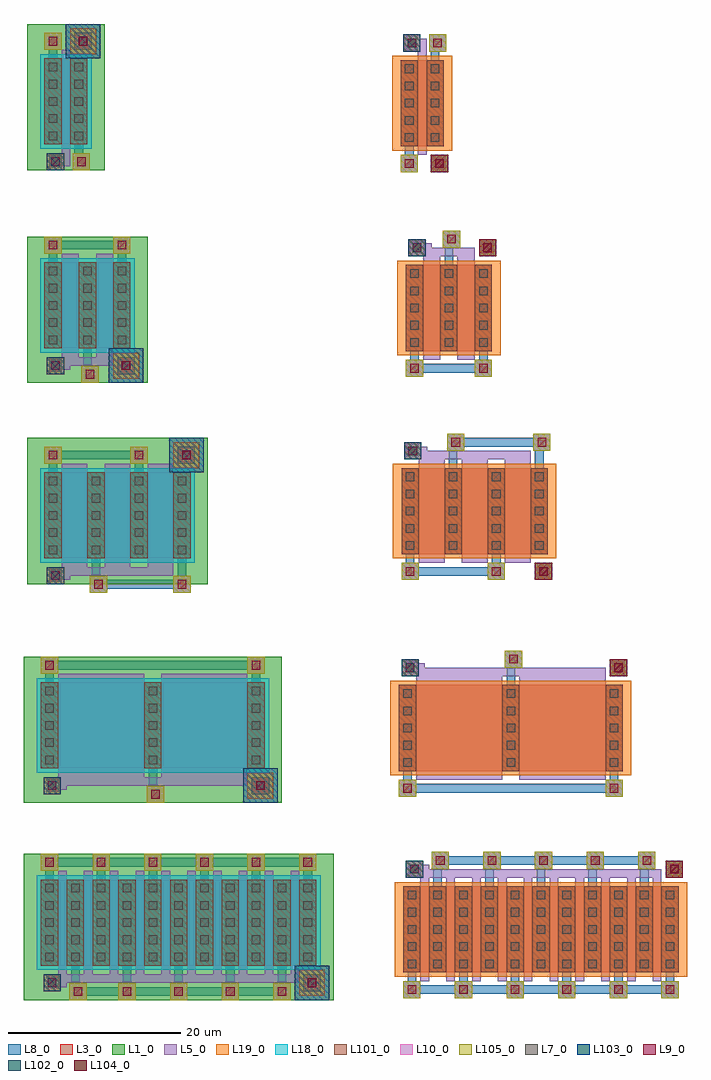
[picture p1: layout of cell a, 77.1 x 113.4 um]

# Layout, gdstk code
import gdstk
lib = gdstk.Library(unit=1e-6, precision=1e-09)
def R(c, l, rs):  # rectangles x0, y0, x1, y1
    for r in rs: c.add(gdstk.rectangle(r[:2], r[2:], *l))
L1_0 = (1, 0)
L3_0 = (3, 0)
L5_0 = (5, 0)
L7_0 = (7, 0)
L8_0 = (8, 0)
L9_0 = (9, 0)
L10_0 = (10, 0)
L18_0 = (18, 0)
L19_0 = (19, 0)
L101_0 = (101, 0)
L102_0 = (102, 0)
L103_0 = (103, 0)
L104_0 = (104, 0)
L105_0 = (105, 0)

dcont_2 = lib.new_cell('dcont$2')
R(dcont_2, L3_0, [(-0.5,-0.5,0.5,0.5)])
R(dcont_2, L7_0, [(-0.5,-0.5,0.5,0.5)])
R(dcont_2, L8_0, [(-1,-1,1,1)])
R(dcont_2, L101_0, [(-1,-1,1,1)])
dcont_2.add(gdstk.Label('dcont', (0,0), layer=13, texttype=0))

pcont_2 = lib.new_cell('pcont$2')
R(pcont_2, L5_0, [(-1,-1,1,1)])
R(pcont_2, L7_0, [(-0.5,-0.5,0.5,0.5)])
R(pcont_2, L8_0, [(-1,-1,1,1)])
R(pcont_2, L102_0, [(-1,-1,1,1)])
pcont_2.add(gdstk.Label('pcont', (0,0), layer=13, texttype=0))

via_2 = lib.new_cell('Via$2')
R(via_2, L8_0, [(-1,-1,1,1)])
R(via_2, L9_0, [(-0.5,-0.5,0.5,0.5)])
R(via_2, L10_0, [(-1,-1,1,1)])
R(via_2, L105_0, [(-1,-1,1,1)])
via_2.add(gdstk.Label('via', (0,0), layer=13, texttype=0))

nsubcont = lib.new_cell('nsubcont')
R(nsubcont, L1_0, [(-2,-2,2,2)])
R(nsubcont, L19_0, [(-1.5,-1.5,1.5,1.5)])
R(nsubcont, L103_0, [(-2,-2,2,2)])
nsubcont.add(gdstk.Reference(dcont_2, (0,0)))
nsubcont.add(gdstk.Label('NScont', (0,0), layer=13, texttype=0))

pch = lib.new_cell('Pch')
R(pch, L1_0, [(-2,0,7,17)])
R(pch, L3_0, [(0,3,5,13)])
R(pch, L18_0, [(-0.5,2.5,5.5,13.5)])
pch.add(gdstk.FlexPath([(1,3),(1,13)], 2, ends="flush", simple_path=True, layer=8, datatype=0))  # L8_0
pch.add(gdstk.FlexPath([(4,3),(4,13)], 2, ends="flush", simple_path=True, layer=8, datatype=0))  # L8_0
pch.add(gdstk.FlexPath([(1,13),(1,15)], 1, ends="flush", simple_path=True, layer=8, datatype=0))  # L8_0
pch.add(gdstk.FlexPath([(4,1),(4,3)], 1, ends="flush", simple_path=True, layer=8, datatype=0))  # L8_0
pch.add(gdstk.FlexPath([(2.5,3),(2.5,13)], 1, ends=(1, 1), simple_path=True, layer=5, datatype=0))  # L5_0
pch.add(gdstk.FlexPath([(1,1),(2.5,1),(2.5,2)], 1, ends="flush", simple_path=True, layer=5, datatype=0))  # L5_0
pch.add(gdstk.Reference(dcont_2, (1,4)))
pch.add(gdstk.Reference(dcont_2, (1,6)))
pch.add(gdstk.Reference(dcont_2, (1,8)))
pch.add(gdstk.Reference(dcont_2, (1,10)))
pch.add(gdstk.Reference(dcont_2, (1,12)))
pch.add(gdstk.Reference(dcont_2, (4,4)))
pch.add(gdstk.Reference(dcont_2, (4,6)))
pch.add(gdstk.Reference(dcont_2, (4,8)))
pch.add(gdstk.Reference(dcont_2, (4,10)))
pch.add(gdstk.Reference(dcont_2, (4,12)))
pch.add(gdstk.Reference(pcont_2, (1.3,1)))
pch.add(gdstk.Reference(via_2, (1.3,1)))
pch.add(gdstk.Reference(via_2, (1,15)))
pch.add(gdstk.Reference(via_2, (4.3,1)))
pch.add(gdstk.Reference(nsubcont, (4.5,15)))
pch.add(gdstk.Reference(via_2, (4.5,15)))

pch_1 = lib.new_cell('Pch$1')
R(pch_1, L1_0, [(-2,-1,12,16)])
R(pch_1, L3_0, [(0,3,10,13)])
R(pch_1, L18_0, [(-0.5,2.5,10.5,13.5)])
pch_1.add(gdstk.FlexPath([(1,3),(1,13)], 2, ends="flush", simple_path=True, layer=8, datatype=0))  # L8_0
pch_1.add(gdstk.FlexPath([(5,3),(5,13)], 2, ends="flush", simple_path=True, layer=8, datatype=0))  # L8_0
pch_1.add(gdstk.FlexPath([(9,3),(9,13)], 2, ends="flush", simple_path=True, layer=8, datatype=0))  # L8_0
pch_1.add(gdstk.FlexPath([(1,13),(1,15)], 1, ends="flush", simple_path=True, layer=8, datatype=0))  # L8_0
pch_1.add(gdstk.FlexPath([(5,1),(5,3)], 1, ends="flush", simple_path=True, layer=8, datatype=0))  # L8_0
pch_1.add(gdstk.FlexPath([(9,13),(9,15)], 1, ends="flush", simple_path=True, layer=8, datatype=0))  # L8_0
pch_1.add(gdstk.FlexPath([(1,15),(9,15)], 1, ends="flush", simple_path=True, layer=8, datatype=0))  # L8_0
pch_1.add(gdstk.FlexPath([(3,3),(3,13)], 2, ends="extended", simple_path=True, layer=5, datatype=0))  # L5_0
pch_1.add(gdstk.FlexPath([(7,3),(7,13)], 2, ends="extended", simple_path=True, layer=5, datatype=0))  # L5_0
pch_1.add(gdstk.FlexPath([(1,1),(2.5,1),(2.5,2)], 1, ends="flush", simple_path=True, layer=5, datatype=0))  # L5_0
pch_1.add(gdstk.FlexPath([(2,1.5),(8,1.5)], 1, ends="flush", simple_path=True, layer=5, datatype=0))  # L5_0
pch_1.add(gdstk.Reference(dcont_2, (1,4)))
pch_1.add(gdstk.Reference(dcont_2, (1,6)))
pch_1.add(gdstk.Reference(dcont_2, (1,8)))
pch_1.add(gdstk.Reference(dcont_2, (1,10)))
pch_1.add(gdstk.Reference(dcont_2, (1,12)))
pch_1.add(gdstk.Reference(dcont_2, (5,4)))
pch_1.add(gdstk.Reference(dcont_2, (5,6)))
pch_1.add(gdstk.Reference(dcont_2, (5,8)))
pch_1.add(gdstk.Reference(dcont_2, (5,10)))
pch_1.add(gdstk.Reference(dcont_2, (5,12)))
pch_1.add(gdstk.Reference(dcont_2, (9,4)))
pch_1.add(gdstk.Reference(dcont_2, (9,6)))
pch_1.add(gdstk.Reference(dcont_2, (9,8)))
pch_1.add(gdstk.Reference(dcont_2, (9,10)))
pch_1.add(gdstk.Reference(dcont_2, (9,12)))
pch_1.add(gdstk.Reference(pcont_2, (1.3,1)))
pch_1.add(gdstk.Reference(via_2, (1.3,1)))
pch_1.add(gdstk.Reference(via_2, (1,15)))
pch_1.add(gdstk.Reference(via_2, (5.3,0)))
pch_1.add(gdstk.Reference(via_2, (9,15)))
pch_1.add(gdstk.Reference(nsubcont, (9.5,1)))
pch_1.add(gdstk.Reference(via_2, (9.5,1)))

pch_2 = lib.new_cell('Pch$2')
R(pch_2, L1_0, [(-2,0,19,17)])
R(pch_2, L3_0, [(0,3,17,13)])
R(pch_2, L18_0, [(-0.5,2.5,17.5,13.5)])
pch_2.add(gdstk.FlexPath([(1,3),(1,13)], 2, ends="flush", simple_path=True, layer=8, datatype=0))  # L8_0
pch_2.add(gdstk.FlexPath([(6,3),(6,13)], 2, ends="flush", simple_path=True, layer=8, datatype=0))  # L8_0
pch_2.add(gdstk.FlexPath([(11,3),(11,13)], 2, ends="flush", simple_path=True, layer=8, datatype=0))  # L8_0
pch_2.add(gdstk.FlexPath([(16,3),(16,13)], 2, ends="flush", simple_path=True, layer=8, datatype=0))  # L8_0
pch_2.add(gdstk.FlexPath([(1,13),(1,15)], 1, ends="flush", simple_path=True, layer=8, datatype=0))  # L8_0
pch_2.add(gdstk.FlexPath([(6,1),(6,3)], 1, ends="flush", simple_path=True, layer=8, datatype=0))  # L8_0
pch_2.add(gdstk.FlexPath([(11,13),(11,15)], 1, ends="flush", simple_path=True, layer=8, datatype=0))  # L8_0
pch_2.add(gdstk.FlexPath([(1,15),(11,15)], 1, ends="flush", simple_path=True, layer=8, datatype=0))  # L8_0
pch_2.add(gdstk.FlexPath([(16,1),(16,3)], 1, ends="flush", simple_path=True, layer=8, datatype=0))  # L8_0
pch_2.add(gdstk.FlexPath([(6,0),(16,0)], 1, ends="flush", simple_path=True, layer=8, datatype=0))  # L8_0
pch_2.add(gdstk.FlexPath([(3.5,3),(3.5,13)], 3, ends=(1, 1), simple_path=True, layer=5, datatype=0))  # L5_0
pch_2.add(gdstk.FlexPath([(8.5,3),(8.5,13)], 3, ends=(1, 1), simple_path=True, layer=5, datatype=0))  # L5_0
pch_2.add(gdstk.FlexPath([(13.5,3),(13.5,13)], 3, ends=(1, 1), simple_path=True, layer=5, datatype=0))  # L5_0
pch_2.add(gdstk.FlexPath([(1,1),(2.5,1),(2.5,2)], 1, ends="flush", simple_path=True, layer=5, datatype=0))  # L5_0
pch_2.add(gdstk.FlexPath([(2,1.5),(10,1.5)], 1, ends="flush", simple_path=True, layer=5, datatype=0))  # L5_0
pch_2.add(gdstk.FlexPath([(7,1.5),(15,1.5)], 1, ends="flush", simple_path=True, layer=5, datatype=0))  # L5_0
pch_2.add(gdstk.Reference(dcont_2, (1,4)))
pch_2.add(gdstk.Reference(dcont_2, (1,6)))
pch_2.add(gdstk.Reference(dcont_2, (1,8)))
pch_2.add(gdstk.Reference(dcont_2, (1,10)))
pch_2.add(gdstk.Reference(dcont_2, (1,12)))
pch_2.add(gdstk.Reference(dcont_2, (6,4)))
pch_2.add(gdstk.Reference(dcont_2, (6,6)))
pch_2.add(gdstk.Reference(dcont_2, (6,8)))
pch_2.add(gdstk.Reference(dcont_2, (6,10)))
pch_2.add(gdstk.Reference(dcont_2, (6,12)))
pch_2.add(gdstk.Reference(dcont_2, (11,4)))
pch_2.add(gdstk.Reference(dcont_2, (11,6)))
pch_2.add(gdstk.Reference(dcont_2, (11,8)))
pch_2.add(gdstk.Reference(dcont_2, (11,10)))
pch_2.add(gdstk.Reference(dcont_2, (11,12)))
pch_2.add(gdstk.Reference(dcont_2, (16,4)))
pch_2.add(gdstk.Reference(dcont_2, (16,6)))
pch_2.add(gdstk.Reference(dcont_2, (16,8)))
pch_2.add(gdstk.Reference(dcont_2, (16,10)))
pch_2.add(gdstk.Reference(dcont_2, (16,12)))
pch_2.add(gdstk.Reference(pcont_2, (1.3,1)))
pch_2.add(gdstk.Reference(via_2, (1.3,1)))
pch_2.add(gdstk.Reference(via_2, (1,15)))
pch_2.add(gdstk.Reference(via_2, (6.3,0)))
pch_2.add(gdstk.Reference(via_2, (11,15)))
pch_2.add(gdstk.Reference(via_2, (16,0)))
pch_2.add(gdstk.Reference(nsubcont, (16.5,15)))
pch_2.add(gdstk.Reference(via_2, (16.5,15)))

pch_3 = lib.new_cell('Pch$3')
R(pch_3, L1_0, [(-2,-1,28,16)])
R(pch_3, L3_0, [(0,3,26,13)])
R(pch_3, L18_0, [(-0.5,2.5,26.5,13.5)])
pch_3.add(gdstk.FlexPath([(1,3),(1,13)], 2, ends="flush", simple_path=True, layer=8, datatype=0))  # L8_0
pch_3.add(gdstk.FlexPath([(13,3),(13,13)], 2, ends="flush", simple_path=True, layer=8, datatype=0))  # L8_0
pch_3.add(gdstk.FlexPath([(25,3),(25,13)], 2, ends="flush", simple_path=True, layer=8, datatype=0))  # L8_0
pch_3.add(gdstk.FlexPath([(1,13),(1,15)], 1, ends="flush", simple_path=True, layer=8, datatype=0))  # L8_0
pch_3.add(gdstk.FlexPath([(13,1),(13,3)], 1, ends="flush", simple_path=True, layer=8, datatype=0))  # L8_0
pch_3.add(gdstk.FlexPath([(25,13),(25,15)], 1, ends="flush", simple_path=True, layer=8, datatype=0))  # L8_0
pch_3.add(gdstk.FlexPath([(1,15),(25,15)], 1, ends="flush", simple_path=True, layer=8, datatype=0))  # L8_0
pch_3.add(gdstk.FlexPath([(7,3),(7,13)], 10, ends=(1, 1), simple_path=True, layer=5, datatype=0))  # L5_0
pch_3.add(gdstk.FlexPath([(19,3),(19,13)], 10, ends=(1, 1), simple_path=True, layer=5, datatype=0))  # L5_0
pch_3.add(gdstk.FlexPath([(1,1),(2.5,1),(2.5,2)], 1, ends="flush", simple_path=True, layer=5, datatype=0))  # L5_0
pch_3.add(gdstk.FlexPath([(2,1.5),(24,1.5)], 1, ends="flush", simple_path=True, layer=5, datatype=0))  # L5_0
pch_3.add(gdstk.Reference(dcont_2, (1,4)))
pch_3.add(gdstk.Reference(dcont_2, (1,6)))
pch_3.add(gdstk.Reference(dcont_2, (1,8)))
pch_3.add(gdstk.Reference(dcont_2, (1,10)))
pch_3.add(gdstk.Reference(dcont_2, (1,12)))
pch_3.add(gdstk.Reference(dcont_2, (13,4)))
pch_3.add(gdstk.Reference(dcont_2, (13,6)))
pch_3.add(gdstk.Reference(dcont_2, (13,8)))
pch_3.add(gdstk.Reference(dcont_2, (13,10)))
pch_3.add(gdstk.Reference(dcont_2, (13,12)))
pch_3.add(gdstk.Reference(dcont_2, (25,4)))
pch_3.add(gdstk.Reference(dcont_2, (25,6)))
pch_3.add(gdstk.Reference(dcont_2, (25,8)))
pch_3.add(gdstk.Reference(dcont_2, (25,10)))
pch_3.add(gdstk.Reference(dcont_2, (25,12)))
pch_3.add(gdstk.Reference(pcont_2, (1.3,1)))
pch_3.add(gdstk.Reference(via_2, (1.3,1)))
pch_3.add(gdstk.Reference(via_2, (1,15)))
pch_3.add(gdstk.Reference(via_2, (13.3,0)))
pch_3.add(gdstk.Reference(via_2, (25,15)))
pch_3.add(gdstk.Reference(nsubcont, (25.5,1)))
pch_3.add(gdstk.Reference(via_2, (25.5,1)))

pch_4 = lib.new_cell('Pch$4')
R(pch_4, L1_0, [(-2,-1,34,16)])
R(pch_4, L3_0, [(0,3,32,13)])
R(pch_4, L18_0, [(-0.5,2.5,32.5,13.5)])
pch_4.add(gdstk.FlexPath([(1,3),(1,13)], 2, ends="flush", simple_path=True, layer=8, datatype=0))  # L8_0
pch_4.add(gdstk.FlexPath([(4,3),(4,13)], 2, ends="flush", simple_path=True, layer=8, datatype=0))  # L8_0
pch_4.add(gdstk.FlexPath([(7,3),(7,13)], 2, ends="flush", simple_path=True, layer=8, datatype=0))  # L8_0
pch_4.add(gdstk.FlexPath([(10,3),(10,13)], 2, ends="flush", simple_path=True, layer=8, datatype=0))  # L8_0
pch_4.add(gdstk.FlexPath([(13,3),(13,13)], 2, ends="flush", simple_path=True, layer=8, datatype=0))  # L8_0
pch_4.add(gdstk.FlexPath([(16,3),(16,13)], 2, ends="flush", simple_path=True, layer=8, datatype=0))  # L8_0
pch_4.add(gdstk.FlexPath([(19,3),(19,13)], 2, ends="flush", simple_path=True, layer=8, datatype=0))  # L8_0
pch_4.add(gdstk.FlexPath([(22,3),(22,13)], 2, ends="flush", simple_path=True, layer=8, datatype=0))  # L8_0
pch_4.add(gdstk.FlexPath([(25,3),(25,13)], 2, ends="flush", simple_path=True, layer=8, datatype=0))  # L8_0
pch_4.add(gdstk.FlexPath([(28,3),(28,13)], 2, ends="flush", simple_path=True, layer=8, datatype=0))  # L8_0
pch_4.add(gdstk.FlexPath([(31,3),(31,13)], 2, ends="flush", simple_path=True, layer=8, datatype=0))  # L8_0
pch_4.add(gdstk.FlexPath([(1,13),(1,15)], 1, ends="flush", simple_path=True, layer=8, datatype=0))  # L8_0
pch_4.add(gdstk.FlexPath([(4,1),(4,3)], 1, ends="flush", simple_path=True, layer=8, datatype=0))  # L8_0
pch_4.add(gdstk.FlexPath([(7,13),(7,15)], 1, ends="flush", simple_path=True, layer=8, datatype=0))  # L8_0
pch_4.add(gdstk.FlexPath([(1,15),(7,15)], 1, ends="flush", simple_path=True, layer=8, datatype=0))  # L8_0
pch_4.add(gdstk.FlexPath([(10,1),(10,3)], 1, ends="flush", simple_path=True, layer=8, datatype=0))  # L8_0
pch_4.add(gdstk.FlexPath([(4,0),(10,0)], 1, ends="flush", simple_path=True, layer=8, datatype=0))  # L8_0
pch_4.add(gdstk.FlexPath([(13,13),(13,15)], 1, ends="flush", simple_path=True, layer=8, datatype=0))  # L8_0
pch_4.add(gdstk.FlexPath([(7,15),(13,15)], 1, ends="flush", simple_path=True, layer=8, datatype=0))  # L8_0
pch_4.add(gdstk.FlexPath([(16,1),(16,3)], 1, ends="flush", simple_path=True, layer=8, datatype=0))  # L8_0
pch_4.add(gdstk.FlexPath([(10,0),(16,0)], 1, ends="flush", simple_path=True, layer=8, datatype=0))  # L8_0
pch_4.add(gdstk.FlexPath([(19,13),(19,15)], 1, ends="flush", simple_path=True, layer=8, datatype=0))  # L8_0
pch_4.add(gdstk.FlexPath([(13,15),(19,15)], 1, ends="flush", simple_path=True, layer=8, datatype=0))  # L8_0
pch_4.add(gdstk.FlexPath([(22,1),(22,3)], 1, ends="flush", simple_path=True, layer=8, datatype=0))  # L8_0
pch_4.add(gdstk.FlexPath([(16,0),(22,0)], 1, ends="flush", simple_path=True, layer=8, datatype=0))  # L8_0
pch_4.add(gdstk.FlexPath([(25,13),(25,15)], 1, ends="flush", simple_path=True, layer=8, datatype=0))  # L8_0
pch_4.add(gdstk.FlexPath([(19,15),(25,15)], 1, ends="flush", simple_path=True, layer=8, datatype=0))  # L8_0
pch_4.add(gdstk.FlexPath([(28,1),(28,3)], 1, ends="flush", simple_path=True, layer=8, datatype=0))  # L8_0
pch_4.add(gdstk.FlexPath([(22,0),(28,0)], 1, ends="flush", simple_path=True, layer=8, datatype=0))  # L8_0
pch_4.add(gdstk.FlexPath([(31,13),(31,15)], 1, ends="flush", simple_path=True, layer=8, datatype=0))  # L8_0
pch_4.add(gdstk.FlexPath([(25,15),(31,15)], 1, ends="flush", simple_path=True, layer=8, datatype=0))  # L8_0
pch_4.add(gdstk.FlexPath([(2.5,3),(2.5,13)], 1, ends=(1, 1), simple_path=True, layer=5, datatype=0))  # L5_0
pch_4.add(gdstk.FlexPath([(5.5,3),(5.5,13)], 1, ends=(1, 1), simple_path=True, layer=5, datatype=0))  # L5_0
pch_4.add(gdstk.FlexPath([(8.5,3),(8.5,13)], 1, ends=(1, 1), simple_path=True, layer=5, datatype=0))  # L5_0
pch_4.add(gdstk.FlexPath([(11.5,3),(11.5,13)], 1, ends=(1, 1), simple_path=True, layer=5, datatype=0))  # L5_0
pch_4.add(gdstk.FlexPath([(14.5,3),(14.5,13)], 1, ends=(1, 1), simple_path=True, layer=5, datatype=0))  # L5_0
pch_4.add(gdstk.FlexPath([(17.5,3),(17.5,13)], 1, ends=(1, 1), simple_path=True, layer=5, datatype=0))  # L5_0
pch_4.add(gdstk.FlexPath([(20.5,3),(20.5,13)], 1, ends=(1, 1), simple_path=True, layer=5, datatype=0))  # L5_0
pch_4.add(gdstk.FlexPath([(23.5,3),(23.5,13)], 1, ends=(1, 1), simple_path=True, layer=5, datatype=0))  # L5_0
pch_4.add(gdstk.FlexPath([(26.5,3),(26.5,13)], 1, ends=(1, 1), simple_path=True, layer=5, datatype=0))  # L5_0
pch_4.add(gdstk.FlexPath([(29.5,3),(29.5,13)], 1, ends=(1, 1), simple_path=True, layer=5, datatype=0))  # L5_0
pch_4.add(gdstk.FlexPath([(1,1),(2.5,1),(2.5,2)], 1, ends="flush", simple_path=True, layer=5, datatype=0))  # L5_0
pch_4.add(gdstk.FlexPath([(2,1.5),(6,1.5)], 1, ends="flush", simple_path=True, layer=5, datatype=0))  # L5_0
pch_4.add(gdstk.FlexPath([(5,1.5),(9,1.5)], 1, ends="flush", simple_path=True, layer=5, datatype=0))  # L5_0
pch_4.add(gdstk.FlexPath([(8,1.5),(12,1.5)], 1, ends="flush", simple_path=True, layer=5, datatype=0))  # L5_0
pch_4.add(gdstk.FlexPath([(11,1.5),(15,1.5)], 1, ends="flush", simple_path=True, layer=5, datatype=0))  # L5_0
pch_4.add(gdstk.FlexPath([(14,1.5),(18,1.5)], 1, ends="flush", simple_path=True, layer=5, datatype=0))  # L5_0
pch_4.add(gdstk.FlexPath([(17,1.5),(21,1.5)], 1, ends="flush", simple_path=True, layer=5, datatype=0))  # L5_0
pch_4.add(gdstk.FlexPath([(20,1.5),(24,1.5)], 1, ends="flush", simple_path=True, layer=5, datatype=0))  # L5_0
pch_4.add(gdstk.FlexPath([(23,1.5),(27,1.5)], 1, ends="flush", simple_path=True, layer=5, datatype=0))  # L5_0
pch_4.add(gdstk.FlexPath([(26,1.5),(30,1.5)], 1, ends="flush", simple_path=True, layer=5, datatype=0))  # L5_0
pch_4.add(gdstk.Reference(dcont_2, (1,4)))
pch_4.add(gdstk.Reference(dcont_2, (1,6)))
pch_4.add(gdstk.Reference(dcont_2, (1,8)))
pch_4.add(gdstk.Reference(dcont_2, (1,10)))
pch_4.add(gdstk.Reference(dcont_2, (1,12)))
pch_4.add(gdstk.Reference(dcont_2, (4,4)))
pch_4.add(gdstk.Reference(dcont_2, (4,6)))
pch_4.add(gdstk.Reference(dcont_2, (4,8)))
pch_4.add(gdstk.Reference(dcont_2, (4,10)))
pch_4.add(gdstk.Reference(dcont_2, (4,12)))
pch_4.add(gdstk.Reference(dcont_2, (7,4)))
pch_4.add(gdstk.Reference(dcont_2, (7,6)))
pch_4.add(gdstk.Reference(dcont_2, (7,8)))
pch_4.add(gdstk.Reference(dcont_2, (7,10)))
pch_4.add(gdstk.Reference(dcont_2, (7,12)))
pch_4.add(gdstk.Reference(dcont_2, (10,4)))
pch_4.add(gdstk.Reference(dcont_2, (10,6)))
pch_4.add(gdstk.Reference(dcont_2, (10,8)))
pch_4.add(gdstk.Reference(dcont_2, (10,10)))
pch_4.add(gdstk.Reference(dcont_2, (10,12)))
pch_4.add(gdstk.Reference(dcont_2, (13,4)))
pch_4.add(gdstk.Reference(dcont_2, (13,6)))
pch_4.add(gdstk.Reference(dcont_2, (13,8)))
pch_4.add(gdstk.Reference(dcont_2, (13,10)))
pch_4.add(gdstk.Reference(dcont_2, (13,12)))
pch_4.add(gdstk.Reference(dcont_2, (16,4)))
pch_4.add(gdstk.Reference(dcont_2, (16,6)))
pch_4.add(gdstk.Reference(dcont_2, (16,8)))
pch_4.add(gdstk.Reference(dcont_2, (16,10)))
pch_4.add(gdstk.Reference(dcont_2, (16,12)))
pch_4.add(gdstk.Reference(dcont_2, (19,4)))
pch_4.add(gdstk.Reference(dcont_2, (19,6)))
pch_4.add(gdstk.Reference(dcont_2, (19,8)))
pch_4.add(gdstk.Reference(dcont_2, (19,10)))
pch_4.add(gdstk.Reference(dcont_2, (19,12)))
pch_4.add(gdstk.Reference(dcont_2, (22,4)))
pch_4.add(gdstk.Reference(dcont_2, (22,6)))
pch_4.add(gdstk.Reference(dcont_2, (22,8)))
pch_4.add(gdstk.Reference(dcont_2, (22,10)))
pch_4.add(gdstk.Reference(dcont_2, (22,12)))
pch_4.add(gdstk.Reference(dcont_2, (25,4)))
pch_4.add(gdstk.Reference(dcont_2, (25,6)))
pch_4.add(gdstk.Reference(dcont_2, (25,8)))
pch_4.add(gdstk.Reference(dcont_2, (25,10)))
pch_4.add(gdstk.Reference(dcont_2, (25,12)))
pch_4.add(gdstk.Reference(dcont_2, (28,4)))
pch_4.add(gdstk.Reference(dcont_2, (28,6)))
pch_4.add(gdstk.Reference(dcont_2, (28,8)))
pch_4.add(gdstk.Reference(dcont_2, (28,10)))
pch_4.add(gdstk.Reference(dcont_2, (28,12)))
pch_4.add(gdstk.Reference(dcont_2, (31,4)))
pch_4.add(gdstk.Reference(dcont_2, (31,6)))
pch_4.add(gdstk.Reference(dcont_2, (31,8)))
pch_4.add(gdstk.Reference(dcont_2, (31,10)))
pch_4.add(gdstk.Reference(dcont_2, (31,12)))
pch_4.add(gdstk.Reference(pcont_2, (1.3,1)))
pch_4.add(gdstk.Reference(via_2, (1.3,1)))
pch_4.add(gdstk.Reference(via_2, (1,15)))
pch_4.add(gdstk.Reference(via_2, (4.3,0)))
pch_4.add(gdstk.Reference(via_2, (7,15)))
pch_4.add(gdstk.Reference(via_2, (10,0)))
pch_4.add(gdstk.Reference(via_2, (13,15)))
pch_4.add(gdstk.Reference(via_2, (16,0)))
pch_4.add(gdstk.Reference(via_2, (19,15)))
pch_4.add(gdstk.Reference(via_2, (22,0)))
pch_4.add(gdstk.Reference(via_2, (25,15)))
pch_4.add(gdstk.Reference(via_2, (28,0)))
pch_4.add(gdstk.Reference(via_2, (31,15)))
pch_4.add(gdstk.Reference(nsubcont, (31.5,1)))
pch_4.add(gdstk.Reference(via_2, (31.5,1)))

psubcont_2 = lib.new_cell('psubcont$2')
R(psubcont_2, L104_0, [(-1,-1,1,1)])
psubcont_2.add(gdstk.Reference(dcont_2, (0,0)))
psubcont_2.add(gdstk.Label('PScon', (0,0), layer=13, texttype=0))

nch = lib.new_cell('Nch')
R(nch, L3_0, [(0,3,5,13)])
R(nch, L19_0, [(-1,2.5,6,13.5)])
nch.add(gdstk.FlexPath([(1,3),(1,13)], 2, ends="flush", simple_path=True, layer=8, datatype=0))  # L8_0
nch.add(gdstk.FlexPath([(4,3),(4,13)], 2, ends="flush", simple_path=True, layer=8, datatype=0))  # L8_0
nch.add(gdstk.FlexPath([(1,1),(1,4)], 1, ends="flush", simple_path=True, layer=8, datatype=0))  # L8_0
nch.add(gdstk.FlexPath([(4,13),(4,16)], 1, ends="flush", simple_path=True, layer=8, datatype=0))  # L8_0
nch.add(gdstk.FlexPath([(2.5,3),(2.5,13)], 1, ends=(1, 1), simple_path=True, layer=5, datatype=0))  # L5_0
nch.add(gdstk.FlexPath([(1,15),(2.5,15),(2.5,14)], 1, ends="flush", simple_path=True, layer=5, datatype=0))  # L5_0
nch.add(gdstk.Reference(dcont_2, (1,4)))
nch.add(gdstk.Reference(dcont_2, (1,6)))
nch.add(gdstk.Reference(dcont_2, (1,8)))
nch.add(gdstk.Reference(dcont_2, (1,10)))
nch.add(gdstk.Reference(dcont_2, (1,12)))
nch.add(gdstk.Reference(dcont_2, (4,4)))
nch.add(gdstk.Reference(dcont_2, (4,6)))
nch.add(gdstk.Reference(dcont_2, (4,8)))
nch.add(gdstk.Reference(dcont_2, (4,10)))
nch.add(gdstk.Reference(dcont_2, (4,12)))
nch.add(gdstk.Reference(pcont_2, (1.3,15)))
nch.add(gdstk.Reference(via_2, (1.3,15)))
nch.add(gdstk.Reference(via_2, (1,1)))
nch.add(gdstk.Reference(via_2, (4.3,15)))
nch.add(gdstk.Reference(psubcont_2, (4.5,1)))
nch.add(gdstk.Reference(via_2, (4.5,1)))

nch_4 = lib.new_cell('Nch$4')
R(nch_4, L3_0, [(0,3,10,13)])
R(nch_4, L19_0, [(-1,2.5,11,13.5)])
nch_4.add(gdstk.FlexPath([(1,3),(1,13)], 2, ends="flush", simple_path=True, layer=8, datatype=0))  # L8_0
nch_4.add(gdstk.FlexPath([(5,3),(5,13)], 2, ends="flush", simple_path=True, layer=8, datatype=0))  # L8_0
nch_4.add(gdstk.FlexPath([(9,3),(9,13)], 2, ends="flush", simple_path=True, layer=8, datatype=0))  # L8_0
nch_4.add(gdstk.FlexPath([(1,1),(1,4)], 1, ends="flush", simple_path=True, layer=8, datatype=0))  # L8_0
nch_4.add(gdstk.FlexPath([(5,13),(5,16)], 1, ends="flush", simple_path=True, layer=8, datatype=0))  # L8_0
nch_4.add(gdstk.FlexPath([(9,1),(9,4)], 1, ends="flush", simple_path=True, layer=8, datatype=0))  # L8_0
nch_4.add(gdstk.FlexPath([(1,1),(9,1)], 1, ends="flush", simple_path=True, layer=8, datatype=0))  # L8_0
nch_4.add(gdstk.FlexPath([(3,3),(3,13)], 2, ends="extended", simple_path=True, layer=5, datatype=0))  # L5_0
nch_4.add(gdstk.FlexPath([(7,3),(7,13)], 2, ends="extended", simple_path=True, layer=5, datatype=0))  # L5_0
nch_4.add(gdstk.FlexPath([(1,15),(2.5,15),(2.5,14)], 1, ends="flush", simple_path=True, layer=5, datatype=0))  # L5_0
nch_4.add(gdstk.FlexPath([(2,14.5),(8,14.5)], 1, ends="flush", simple_path=True, layer=5, datatype=0))  # L5_0
nch_4.add(gdstk.Reference(dcont_2, (1,4)))
nch_4.add(gdstk.Reference(dcont_2, (1,6)))
nch_4.add(gdstk.Reference(dcont_2, (1,8)))
nch_4.add(gdstk.Reference(dcont_2, (1,10)))
nch_4.add(gdstk.Reference(dcont_2, (1,12)))
nch_4.add(gdstk.Reference(dcont_2, (5,4)))
nch_4.add(gdstk.Reference(dcont_2, (5,6)))
nch_4.add(gdstk.Reference(dcont_2, (5,8)))
nch_4.add(gdstk.Reference(dcont_2, (5,10)))
nch_4.add(gdstk.Reference(dcont_2, (5,12)))
nch_4.add(gdstk.Reference(dcont_2, (9,4)))
nch_4.add(gdstk.Reference(dcont_2, (9,6)))
nch_4.add(gdstk.Reference(dcont_2, (9,8)))
nch_4.add(gdstk.Reference(dcont_2, (9,10)))
nch_4.add(gdstk.Reference(dcont_2, (9,12)))
nch_4.add(gdstk.Reference(pcont_2, (1.3,15)))
nch_4.add(gdstk.Reference(via_2, (1.3,15)))
nch_4.add(gdstk.Reference(via_2, (1,1)))
nch_4.add(gdstk.Reference(via_2, (5.3,16)))
nch_4.add(gdstk.Reference(via_2, (9,1)))
nch_4.add(gdstk.Reference(psubcont_2, (9.5,15)))
nch_4.add(gdstk.Reference(via_2, (9.5,15)))

nch_3 = lib.new_cell('Nch$3')
R(nch_3, L3_0, [(0,3,17,13)])
R(nch_3, L19_0, [(-1,2.5,18,13.5)])
nch_3.add(gdstk.FlexPath([(1,3),(1,13)], 2, ends="flush", simple_path=True, layer=8, datatype=0))  # L8_0
nch_3.add(gdstk.FlexPath([(6,3),(6,13)], 2, ends="flush", simple_path=True, layer=8, datatype=0))  # L8_0
nch_3.add(gdstk.FlexPath([(11,3),(11,13)], 2, ends="flush", simple_path=True, layer=8, datatype=0))  # L8_0
nch_3.add(gdstk.FlexPath([(16,3),(16,13)], 2, ends="flush", simple_path=True, layer=8, datatype=0))  # L8_0
nch_3.add(gdstk.FlexPath([(1,1),(1,4)], 1, ends="flush", simple_path=True, layer=8, datatype=0))  # L8_0
nch_3.add(gdstk.FlexPath([(6,13),(6,16)], 1, ends="flush", simple_path=True, layer=8, datatype=0))  # L8_0
nch_3.add(gdstk.FlexPath([(11,1),(11,4)], 1, ends="flush", simple_path=True, layer=8, datatype=0))  # L8_0
nch_3.add(gdstk.FlexPath([(1,1),(11,1)], 1, ends="flush", simple_path=True, layer=8, datatype=0))  # L8_0
nch_3.add(gdstk.FlexPath([(16,13),(16,16)], 1, ends="flush", simple_path=True, layer=8, datatype=0))  # L8_0
nch_3.add(gdstk.FlexPath([(6,16),(16,16)], 1, ends="flush", simple_path=True, layer=8, datatype=0))  # L8_0
nch_3.add(gdstk.FlexPath([(3.5,3),(3.5,13)], 3, ends=(1, 1), simple_path=True, layer=5, datatype=0))  # L5_0
nch_3.add(gdstk.FlexPath([(8.5,3),(8.5,13)], 3, ends=(1, 1), simple_path=True, layer=5, datatype=0))  # L5_0
nch_3.add(gdstk.FlexPath([(13.5,3),(13.5,13)], 3, ends=(1, 1), simple_path=True, layer=5, datatype=0))  # L5_0
nch_3.add(gdstk.FlexPath([(1,15),(2.5,15),(2.5,14)], 1, ends="flush", simple_path=True, layer=5, datatype=0))  # L5_0
nch_3.add(gdstk.FlexPath([(2,14.5),(10,14.5)], 1, ends="flush", simple_path=True, layer=5, datatype=0))  # L5_0
nch_3.add(gdstk.FlexPath([(7,14.5),(15,14.5)], 1, ends="flush", simple_path=True, layer=5, datatype=0))  # L5_0
nch_3.add(gdstk.Reference(dcont_2, (1,4)))
nch_3.add(gdstk.Reference(dcont_2, (1,6)))
nch_3.add(gdstk.Reference(dcont_2, (1,8)))
nch_3.add(gdstk.Reference(dcont_2, (1,10)))
nch_3.add(gdstk.Reference(dcont_2, (1,12)))
nch_3.add(gdstk.Reference(dcont_2, (6,4)))
nch_3.add(gdstk.Reference(dcont_2, (6,6)))
nch_3.add(gdstk.Reference(dcont_2, (6,8)))
nch_3.add(gdstk.Reference(dcont_2, (6,10)))
nch_3.add(gdstk.Reference(dcont_2, (6,12)))
nch_3.add(gdstk.Reference(dcont_2, (11,4)))
nch_3.add(gdstk.Reference(dcont_2, (11,6)))
nch_3.add(gdstk.Reference(dcont_2, (11,8)))
nch_3.add(gdstk.Reference(dcont_2, (11,10)))
nch_3.add(gdstk.Reference(dcont_2, (11,12)))
nch_3.add(gdstk.Reference(dcont_2, (16,4)))
nch_3.add(gdstk.Reference(dcont_2, (16,6)))
nch_3.add(gdstk.Reference(dcont_2, (16,8)))
nch_3.add(gdstk.Reference(dcont_2, (16,10)))
nch_3.add(gdstk.Reference(dcont_2, (16,12)))
nch_3.add(gdstk.Reference(pcont_2, (1.3,15)))
nch_3.add(gdstk.Reference(via_2, (1.3,15)))
nch_3.add(gdstk.Reference(via_2, (1,1)))
nch_3.add(gdstk.Reference(via_2, (6.3,16)))
nch_3.add(gdstk.Reference(via_2, (11,1)))
nch_3.add(gdstk.Reference(via_2, (16.3,16)))
nch_3.add(gdstk.Reference(psubcont_2, (16.5,1)))
nch_3.add(gdstk.Reference(via_2, (16.5,1)))

nch_2 = lib.new_cell('Nch$2')
R(nch_2, L3_0, [(0,3,26,13)])
R(nch_2, L19_0, [(-1,2.5,27,13.5)])
nch_2.add(gdstk.FlexPath([(1,3),(1,13)], 2, ends="flush", simple_path=True, layer=8, datatype=0))  # L8_0
nch_2.add(gdstk.FlexPath([(13,3),(13,13)], 2, ends="flush", simple_path=True, layer=8, datatype=0))  # L8_0
nch_2.add(gdstk.FlexPath([(25,3),(25,13)], 2, ends="flush", simple_path=True, layer=8, datatype=0))  # L8_0
nch_2.add(gdstk.FlexPath([(1,1),(1,4)], 1, ends="flush", simple_path=True, layer=8, datatype=0))  # L8_0
nch_2.add(gdstk.FlexPath([(13,13),(13,16)], 1, ends="flush", simple_path=True, layer=8, datatype=0))  # L8_0
nch_2.add(gdstk.FlexPath([(25,1),(25,4)], 1, ends="flush", simple_path=True, layer=8, datatype=0))  # L8_0
nch_2.add(gdstk.FlexPath([(1,1),(25,1)], 1, ends="flush", simple_path=True, layer=8, datatype=0))  # L8_0
nch_2.add(gdstk.FlexPath([(7,3),(7,13)], 10, ends=(1, 1), simple_path=True, layer=5, datatype=0))  # L5_0
nch_2.add(gdstk.FlexPath([(19,3),(19,13)], 10, ends=(1, 1), simple_path=True, layer=5, datatype=0))  # L5_0
nch_2.add(gdstk.FlexPath([(1,15),(2.5,15),(2.5,14)], 1, ends="flush", simple_path=True, layer=5, datatype=0))  # L5_0
nch_2.add(gdstk.FlexPath([(2,14.5),(24,14.5)], 1, ends="flush", simple_path=True, layer=5, datatype=0))  # L5_0
nch_2.add(gdstk.Reference(dcont_2, (1,4)))
nch_2.add(gdstk.Reference(dcont_2, (1,6)))
nch_2.add(gdstk.Reference(dcont_2, (1,8)))
nch_2.add(gdstk.Reference(dcont_2, (1,10)))
nch_2.add(gdstk.Reference(dcont_2, (1,12)))
nch_2.add(gdstk.Reference(dcont_2, (13,4)))
nch_2.add(gdstk.Reference(dcont_2, (13,6)))
nch_2.add(gdstk.Reference(dcont_2, (13,8)))
nch_2.add(gdstk.Reference(dcont_2, (13,10)))
nch_2.add(gdstk.Reference(dcont_2, (13,12)))
nch_2.add(gdstk.Reference(dcont_2, (25,4)))
nch_2.add(gdstk.Reference(dcont_2, (25,6)))
nch_2.add(gdstk.Reference(dcont_2, (25,8)))
nch_2.add(gdstk.Reference(dcont_2, (25,10)))
nch_2.add(gdstk.Reference(dcont_2, (25,12)))
nch_2.add(gdstk.Reference(pcont_2, (1.3,15)))
nch_2.add(gdstk.Reference(via_2, (1.3,15)))
nch_2.add(gdstk.Reference(via_2, (1,1)))
nch_2.add(gdstk.Reference(via_2, (13.3,16)))
nch_2.add(gdstk.Reference(via_2, (25,1)))
nch_2.add(gdstk.Reference(psubcont_2, (25.5,15)))
nch_2.add(gdstk.Reference(via_2, (25.5,15)))

nch_1 = lib.new_cell('Nch$1')
R(nch_1, L3_0, [(0,3,32,13)])
R(nch_1, L19_0, [(-1,2.5,33,13.5)])
nch_1.add(gdstk.FlexPath([(1,3),(1,13)], 2, ends="flush", simple_path=True, layer=8, datatype=0))  # L8_0
nch_1.add(gdstk.FlexPath([(4,3),(4,13)], 2, ends="flush", simple_path=True, layer=8, datatype=0))  # L8_0
nch_1.add(gdstk.FlexPath([(7,3),(7,13)], 2, ends="flush", simple_path=True, layer=8, datatype=0))  # L8_0
nch_1.add(gdstk.FlexPath([(10,3),(10,13)], 2, ends="flush", simple_path=True, layer=8, datatype=0))  # L8_0
nch_1.add(gdstk.FlexPath([(13,3),(13,13)], 2, ends="flush", simple_path=True, layer=8, datatype=0))  # L8_0
nch_1.add(gdstk.FlexPath([(16,3),(16,13)], 2, ends="flush", simple_path=True, layer=8, datatype=0))  # L8_0
nch_1.add(gdstk.FlexPath([(19,3),(19,13)], 2, ends="flush", simple_path=True, layer=8, datatype=0))  # L8_0
nch_1.add(gdstk.FlexPath([(22,3),(22,13)], 2, ends="flush", simple_path=True, layer=8, datatype=0))  # L8_0
nch_1.add(gdstk.FlexPath([(25,3),(25,13)], 2, ends="flush", simple_path=True, layer=8, datatype=0))  # L8_0
nch_1.add(gdstk.FlexPath([(28,3),(28,13)], 2, ends="flush", simple_path=True, layer=8, datatype=0))  # L8_0
nch_1.add(gdstk.FlexPath([(31,3),(31,13)], 2, ends="flush", simple_path=True, layer=8, datatype=0))  # L8_0
nch_1.add(gdstk.FlexPath([(1,1),(1,4)], 1, ends="flush", simple_path=True, layer=8, datatype=0))  # L8_0
nch_1.add(gdstk.FlexPath([(4,13),(4,16)], 1, ends="flush", simple_path=True, layer=8, datatype=0))  # L8_0
nch_1.add(gdstk.FlexPath([(7,1),(7,4)], 1, ends="flush", simple_path=True, layer=8, datatype=0))  # L8_0
nch_1.add(gdstk.FlexPath([(1,1),(7,1)], 1, ends="flush", simple_path=True, layer=8, datatype=0))  # L8_0
nch_1.add(gdstk.FlexPath([(10,13),(10,16)], 1, ends="flush", simple_path=True, layer=8, datatype=0))  # L8_0
nch_1.add(gdstk.FlexPath([(4,16),(10,16)], 1, ends="flush", simple_path=True, layer=8, datatype=0))  # L8_0
nch_1.add(gdstk.FlexPath([(13,1),(13,4)], 1, ends="flush", simple_path=True, layer=8, datatype=0))  # L8_0
nch_1.add(gdstk.FlexPath([(7,1),(13,1)], 1, ends="flush", simple_path=True, layer=8, datatype=0))  # L8_0
nch_1.add(gdstk.FlexPath([(16,13),(16,16)], 1, ends="flush", simple_path=True, layer=8, datatype=0))  # L8_0
nch_1.add(gdstk.FlexPath([(10,16),(16,16)], 1, ends="flush", simple_path=True, layer=8, datatype=0))  # L8_0
nch_1.add(gdstk.FlexPath([(19,1),(19,4)], 1, ends="flush", simple_path=True, layer=8, datatype=0))  # L8_0
nch_1.add(gdstk.FlexPath([(13,1),(19,1)], 1, ends="flush", simple_path=True, layer=8, datatype=0))  # L8_0
nch_1.add(gdstk.FlexPath([(22,13),(22,16)], 1, ends="flush", simple_path=True, layer=8, datatype=0))  # L8_0
nch_1.add(gdstk.FlexPath([(16,16),(22,16)], 1, ends="flush", simple_path=True, layer=8, datatype=0))  # L8_0
nch_1.add(gdstk.FlexPath([(25,1),(25,4)], 1, ends="flush", simple_path=True, layer=8, datatype=0))  # L8_0
nch_1.add(gdstk.FlexPath([(19,1),(25,1)], 1, ends="flush", simple_path=True, layer=8, datatype=0))  # L8_0
nch_1.add(gdstk.FlexPath([(28,13),(28,16)], 1, ends="flush", simple_path=True, layer=8, datatype=0))  # L8_0
nch_1.add(gdstk.FlexPath([(22,16),(28,16)], 1, ends="flush", simple_path=True, layer=8, datatype=0))  # L8_0
nch_1.add(gdstk.FlexPath([(31,1),(31,4)], 1, ends="flush", simple_path=True, layer=8, datatype=0))  # L8_0
nch_1.add(gdstk.FlexPath([(25,1),(31,1)], 1, ends="flush", simple_path=True, layer=8, datatype=0))  # L8_0
nch_1.add(gdstk.FlexPath([(2.5,3),(2.5,13)], 1, ends=(1, 1), simple_path=True, layer=5, datatype=0))  # L5_0
nch_1.add(gdstk.FlexPath([(5.5,3),(5.5,13)], 1, ends=(1, 1), simple_path=True, layer=5, datatype=0))  # L5_0
nch_1.add(gdstk.FlexPath([(8.5,3),(8.5,13)], 1, ends=(1, 1), simple_path=True, layer=5, datatype=0))  # L5_0
nch_1.add(gdstk.FlexPath([(11.5,3),(11.5,13)], 1, ends=(1, 1), simple_path=True, layer=5, datatype=0))  # L5_0
nch_1.add(gdstk.FlexPath([(14.5,3),(14.5,13)], 1, ends=(1, 1), simple_path=True, layer=5, datatype=0))  # L5_0
nch_1.add(gdstk.FlexPath([(17.5,3),(17.5,13)], 1, ends=(1, 1), simple_path=True, layer=5, datatype=0))  # L5_0
nch_1.add(gdstk.FlexPath([(20.5,3),(20.5,13)], 1, ends=(1, 1), simple_path=True, layer=5, datatype=0))  # L5_0
nch_1.add(gdstk.FlexPath([(23.5,3),(23.5,13)], 1, ends=(1, 1), simple_path=True, layer=5, datatype=0))  # L5_0
nch_1.add(gdstk.FlexPath([(26.5,3),(26.5,13)], 1, ends=(1, 1), simple_path=True, layer=5, datatype=0))  # L5_0
nch_1.add(gdstk.FlexPath([(29.5,3),(29.5,13)], 1, ends=(1, 1), simple_path=True, layer=5, datatype=0))  # L5_0
nch_1.add(gdstk.FlexPath([(1,15),(2.5,15),(2.5,14)], 1, ends="flush", simple_path=True, layer=5, datatype=0))  # L5_0
nch_1.add(gdstk.FlexPath([(2,14.5),(6,14.5)], 1, ends="flush", simple_path=True, layer=5, datatype=0))  # L5_0
nch_1.add(gdstk.FlexPath([(5,14.5),(9,14.5)], 1, ends="flush", simple_path=True, layer=5, datatype=0))  # L5_0
nch_1.add(gdstk.FlexPath([(8,14.5),(12,14.5)], 1, ends="flush", simple_path=True, layer=5, datatype=0))  # L5_0
nch_1.add(gdstk.FlexPath([(11,14.5),(15,14.5)], 1, ends="flush", simple_path=True, layer=5, datatype=0))  # L5_0
nch_1.add(gdstk.FlexPath([(14,14.5),(18,14.5)], 1, ends="flush", simple_path=True, layer=5, datatype=0))  # L5_0
nch_1.add(gdstk.FlexPath([(17,14.5),(21,14.5)], 1, ends="flush", simple_path=True, layer=5, datatype=0))  # L5_0
nch_1.add(gdstk.FlexPath([(20,14.5),(24,14.5)], 1, ends="flush", simple_path=True, layer=5, datatype=0))  # L5_0
nch_1.add(gdstk.FlexPath([(23,14.5),(27,14.5)], 1, ends="flush", simple_path=True, layer=5, datatype=0))  # L5_0
nch_1.add(gdstk.FlexPath([(26,14.5),(30,14.5)], 1, ends="flush", simple_path=True, layer=5, datatype=0))  # L5_0
nch_1.add(gdstk.Reference(dcont_2, (1,4)))
nch_1.add(gdstk.Reference(dcont_2, (1,6)))
nch_1.add(gdstk.Reference(dcont_2, (1,8)))
nch_1.add(gdstk.Reference(dcont_2, (1,10)))
nch_1.add(gdstk.Reference(dcont_2, (1,12)))
nch_1.add(gdstk.Reference(dcont_2, (4,4)))
nch_1.add(gdstk.Reference(dcont_2, (4,6)))
nch_1.add(gdstk.Reference(dcont_2, (4,8)))
nch_1.add(gdstk.Reference(dcont_2, (4,10)))
nch_1.add(gdstk.Reference(dcont_2, (4,12)))
nch_1.add(gdstk.Reference(dcont_2, (7,4)))
nch_1.add(gdstk.Reference(dcont_2, (7,6)))
nch_1.add(gdstk.Reference(dcont_2, (7,8)))
nch_1.add(gdstk.Reference(dcont_2, (7,10)))
nch_1.add(gdstk.Reference(dcont_2, (7,12)))
nch_1.add(gdstk.Reference(dcont_2, (10,4)))
nch_1.add(gdstk.Reference(dcont_2, (10,6)))
nch_1.add(gdstk.Reference(dcont_2, (10,8)))
nch_1.add(gdstk.Reference(dcont_2, (10,10)))
nch_1.add(gdstk.Reference(dcont_2, (10,12)))
nch_1.add(gdstk.Reference(dcont_2, (13,4)))
nch_1.add(gdstk.Reference(dcont_2, (13,6)))
nch_1.add(gdstk.Reference(dcont_2, (13,8)))
nch_1.add(gdstk.Reference(dcont_2, (13,10)))
nch_1.add(gdstk.Reference(dcont_2, (13,12)))
nch_1.add(gdstk.Reference(dcont_2, (16,4)))
nch_1.add(gdstk.Reference(dcont_2, (16,6)))
nch_1.add(gdstk.Reference(dcont_2, (16,8)))
nch_1.add(gdstk.Reference(dcont_2, (16,10)))
nch_1.add(gdstk.Reference(dcont_2, (16,12)))
nch_1.add(gdstk.Reference(dcont_2, (19,4)))
nch_1.add(gdstk.Reference(dcont_2, (19,6)))
nch_1.add(gdstk.Reference(dcont_2, (19,8)))
nch_1.add(gdstk.Reference(dcont_2, (19,10)))
nch_1.add(gdstk.Reference(dcont_2, (19,12)))
nch_1.add(gdstk.Reference(dcont_2, (22,4)))
nch_1.add(gdstk.Reference(dcont_2, (22,6)))
nch_1.add(gdstk.Reference(dcont_2, (22,8)))
nch_1.add(gdstk.Reference(dcont_2, (22,10)))
nch_1.add(gdstk.Reference(dcont_2, (22,12)))
nch_1.add(gdstk.Reference(dcont_2, (25,4)))
nch_1.add(gdstk.Reference(dcont_2, (25,6)))
nch_1.add(gdstk.Reference(dcont_2, (25,8)))
nch_1.add(gdstk.Reference(dcont_2, (25,10)))
nch_1.add(gdstk.Reference(dcont_2, (25,12)))
nch_1.add(gdstk.Reference(dcont_2, (28,4)))
nch_1.add(gdstk.Reference(dcont_2, (28,6)))
nch_1.add(gdstk.Reference(dcont_2, (28,8)))
nch_1.add(gdstk.Reference(dcont_2, (28,10)))
nch_1.add(gdstk.Reference(dcont_2, (28,12)))
nch_1.add(gdstk.Reference(dcont_2, (31,4)))
nch_1.add(gdstk.Reference(dcont_2, (31,6)))
nch_1.add(gdstk.Reference(dcont_2, (31,8)))
nch_1.add(gdstk.Reference(dcont_2, (31,10)))
nch_1.add(gdstk.Reference(dcont_2, (31,12)))
nch_1.add(gdstk.Reference(pcont_2, (1.3,15)))
nch_1.add(gdstk.Reference(via_2, (1.3,15)))
nch_1.add(gdstk.Reference(via_2, (1,1)))
nch_1.add(gdstk.Reference(via_2, (4.3,16)))
nch_1.add(gdstk.Reference(via_2, (7,1)))
nch_1.add(gdstk.Reference(via_2, (10.3,16)))
nch_1.add(gdstk.Reference(via_2, (13,1)))
nch_1.add(gdstk.Reference(via_2, (16.3,16)))
nch_1.add(gdstk.Reference(via_2, (19,1)))
nch_1.add(gdstk.Reference(via_2, (22.3,16)))
nch_1.add(gdstk.Reference(via_2, (25,1)))
nch_1.add(gdstk.Reference(via_2, (28.3,16)))
nch_1.add(gdstk.Reference(via_2, (31,1)))
nch_1.add(gdstk.Reference(psubcont_2, (31.5,15)))
nch_1.add(gdstk.Reference(via_2, (31.5,15)))

c_a = lib.new_cell('a')
c_a.add(gdstk.Reference(pch, (-62.9,45.6)))
c_a.add(gdstk.Reference(pch_1, (-62.9,21.9)))
c_a.add(gdstk.Reference(pch_2, (-62.9,-2.5)))
c_a.add(gdstk.Reference(pch_3, (-63.3,-26.9)))
c_a.add(gdstk.Reference(pch_4, (-63.3,-49.8)))
c_a.add(gdstk.Reference(nch, (-21.5,45.4)))
c_a.add(gdstk.Reference(nch_4, (-20.9,21.6)))
c_a.add(gdstk.Reference(nch_3, (-21.4,-2)))
c_a.add(gdstk.Reference(nch_2, (-21.7,-27.2)))
c_a.add(gdstk.Reference(nch_1, (-21.2,-50.6)))

lib.write_gds('a.gds')
